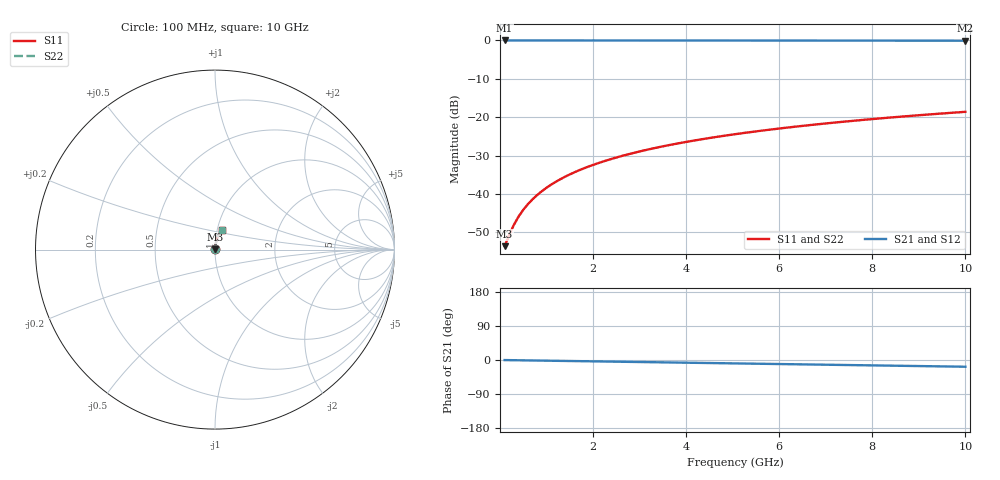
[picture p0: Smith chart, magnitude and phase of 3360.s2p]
# Hz S RI R 50.00
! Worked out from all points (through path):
!   100 points, 100 MHz to 10 GHz, reference 50 ohm
!   highest |S21| = -0.02 dB at 100 MHz (marker M1); lowest = -0.1 dB at 10 GHz (marker M2)
!   group delay of S21, straight-line fit = 4.94 ps
!   lowest |S11| = -53.6 dB at 100 MHz (marker M3), VSWR 1.00, Z = 50.2 + j0.119 ohm
!   |S11| at or under -10 dB: start of sweep to end of sweep
!   |S22| runs from -53.6 to -18.6 dB; largest |S21 - S12| = 0
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1e8  0.00173 0.00119  0.9983 -0.00309  0.9983 -0.00309  0.00173 0.00119
2e8  0.00175 0.00238  0.9982 -0.00619  0.9982 -0.00619  0.00175 0.00238
3e8  0.00178 0.00357  0.9982 -0.00928  0.9982 -0.00928  0.00178 0.00357
4e8  0.00181 0.00476  0.9982 -0.0124  0.9982 -0.0124  0.00181 0.00476
5e8  0.00185 0.00595  0.9981 -0.0155  0.9981 -0.0155  0.00185 0.00595
6e8  0.00189 0.00714  0.998 -0.0186  0.998 -0.0186  0.00189 0.00714
7e8  0.00194 0.00833  0.998 -0.0217  0.998 -0.0217  0.00194 0.00833
9e8  0.00207 0.0107  0.9978 -0.0278  0.9978 -0.0278  0.00207 0.0107
1e9  0.00214 0.0119  0.9977 -0.0309  0.9977 -0.0309  0.00214 0.0119
1.2e9  0.00231 0.0143  0.9974 -0.0371  0.9974 -0.0371  0.00231 0.0143
1.5e9  0.00262 0.0178  0.9969 -0.0464  0.9969 -0.0464  0.00262 0.0178
1.8e9  0.00299 0.0214  0.9964 -0.0557  0.9964 -0.0557  0.00299 0.0214
2.1e9  0.00342 0.0249  0.9957 -0.0649  0.9957 -0.0649  0.00342 0.0249
2.5e9  0.00411 0.0296  0.9947 -0.0773  0.9947 -0.0773  0.00411 0.0296
2.9e9  0.00491 0.0343  0.9935 -0.0896  0.9935 -0.0896  0.00491 0.0343
3.4e9  0.00607 0.0401  0.9918 -0.1049  0.9918 -0.1049  0.00607 0.0401
4.2e9  0.0083 0.0494  0.9884 -0.1295  0.9884 -0.1295  0.0083 0.0494
5.1e9  0.0114 0.0596  0.9838 -0.1569  0.9838 -0.1569  0.0114 0.0596
5.9e9  0.0146 0.0686  0.979 -0.1812  0.979 -0.1812  0.0146 0.0686
6.7e9  0.0182 0.0774  0.9735 -0.2053  0.9735 -0.2053  0.0182 0.0774
8.4e9  0.0273 0.0954  0.9596 -0.2558  0.9596 -0.2558  0.0273 0.0954
1e10  0.0376 0.1114  0.9438 -0.3024  0.9438 -0.3024  0.0376 0.1114
